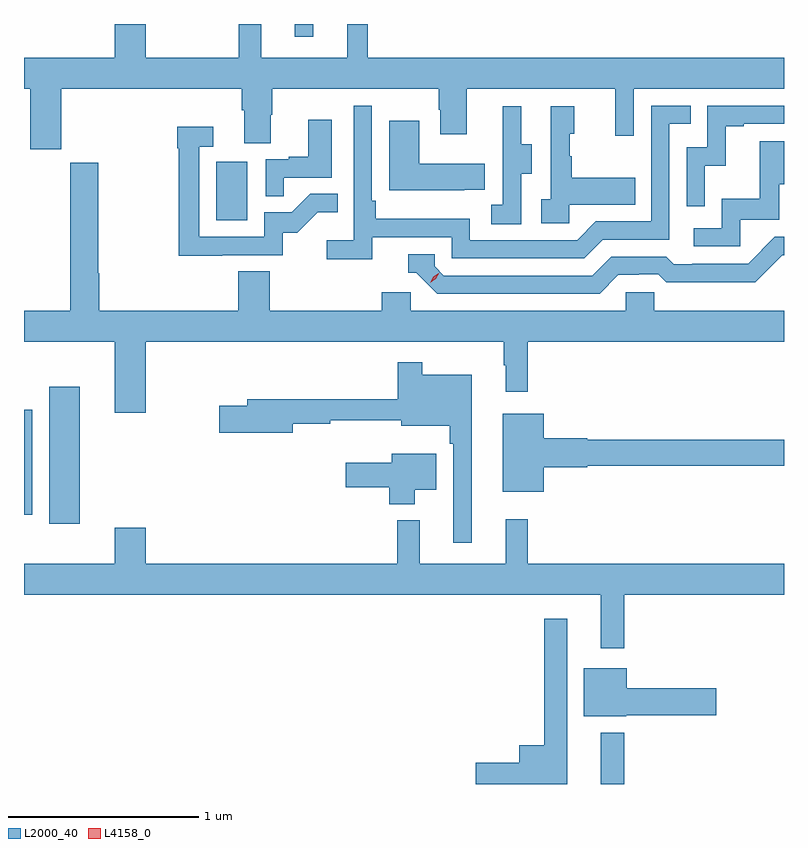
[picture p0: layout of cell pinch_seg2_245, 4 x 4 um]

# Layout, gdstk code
import gdstk
lib = gdstk.Library(unit=1e-6, precision=1e-09)
def R(c, l, rs):  # rectangles x0, y0, x1, y1
    for r in rs: c.add(gdstk.rectangle(r[:2], r[2:], *l))
def P(c, l, *ps):  # polygons
    for p in ps: c.add(gdstk.Polygon(p, *l))
L2000_40 = (2000, 40)
L4158_0 = (4158, 0)

pinch_seg2_245 = lib.new_cell('pinch_seg2_245')
R(pinch_seg2_245, L2000_40, [(946.787,653.301,946.909,653.572), (943.883,654.672,944.044,655.393), (943.751,654.718,943.794,655.27), (944.762,656.268,944.926,656.575), (945.176,657.234,945.273,657.301)])
P(pinch_seg2_245, L2000_40, [(943.948,656.96),(944.897,656.96),(944.897,656.848),(944.909,656.848),(944.909,656.674),(945.049,656.674),(945.049,656.823),(945.057,656.823),(945.057,656.96),(945.934,656.96),(945.934,656.849),(945.941,656.849),(945.941,656.721),(946.081,656.721),(946.081,656.96),(946.862,656.96),(946.862,656.712),(946.959,656.712),(946.959,656.96),(947.751,656.96),(947.751,657.124),(945.56,657.124),(945.56,657.301),(945.452,657.301),(945.452,657.124),(944.999,657.124),(944.999,657.301),(944.881,657.301),(944.881,657.124),(944.392,657.124),(944.392,657.301),(944.228,657.301),(944.228,657.124),(943.751,657.124),(943.751,656.96),(943.784,656.96),(943.784,656.643),(943.948,656.643)],
  [(945.584,656.178),(946.002,656.178),(946.002,656.067),(946.699,656.067),(946.798,656.166),(947.148,656.166),(947.148,656.775),(947.261,656.775),(947.261,656.871),(947.052,656.871),(947.052,656.262),(946.761,656.262),(946.662,656.163),(946.098,656.163),(946.098,656.275),(945.602,656.275),(945.602,656.371),(945.582,656.371),(945.582,656.872),(945.486,656.872),(945.486,656.164),(945.345,656.164),(945.345,656.062),(945.584,656.062)],
  [(947.334,656.555),(947.444,656.555),(947.444,656.763),(947.539,656.763),(947.539,656.775),(947.751,656.775),(947.751,656.871),(947.346,656.871),(947.346,656.652),(947.238,656.652),(947.238,656.343),(947.334,656.343)],
  [(946.62,656.351),(946.967,656.351),(946.967,656.491),(946.633,656.491),(946.633,656.606),(946.623,656.606),(946.623,656.724),(946.648,656.724),(946.648,656.869),(946.524,656.869),(946.524,656.378),(946.473,656.378),(946.473,656.253),(946.62,656.253)],
  [(946.368,656.512),(946.423,656.512),(946.423,656.667),(946.369,656.667),(946.369,656.869),(946.271,656.869),(946.271,656.655),(946.272,656.655),(946.272,656.351),(946.209,656.351),(946.209,656.248),(946.368,656.248)],
  [(945.119,656.493),(945.37,656.493),(945.37,656.797),(945.248,656.797),(945.248,656.602),(945.145,656.602),(945.145,656.589),(945.024,656.589),(945.024,656.395),(945.119,656.395)],
  [(946.067,656.429),(946.175,656.429),(946.175,656.566),(945.832,656.566),(945.832,656.791),(945.674,656.791),(945.674,656.426),(946.067,656.426)],
  [(944.795,656.085),(945.114,656.085),(945.114,656.202),(945.19,656.202),(945.297,656.309),(945.401,656.309),(945.401,656.408),(945.258,656.408),(945.16,656.31),(945.015,656.31),(945.015,656.181),(944.673,656.181),(944.673,656.655),(944.746,656.655),(944.746,656.761),(944.557,656.761),(944.557,656.648),(944.565,656.648),(944.565,656.08),(944.795,656.08)],
  [(947.52,656.271),(947.725,656.271),(947.725,656.457),(947.751,656.457),(947.751,656.683),(947.623,656.683),(947.623,656.38),(947.424,656.38),(947.424,656.226),(947.277,656.226),(947.277,656.13),(947.52,656.13)],
  [(945.786,655.89),(945.635,655.89),(945.635,655.792),(945.044,655.792),(945.044,656),(944.879,656),(944.879,655.792),(944.147,655.792),(944.147,655.988),(944.142,655.988),(944.142,656.571),(943.994,656.571),(943.994,655.792),(943.751,655.792),(943.751,655.628),(944.228,655.628),(944.228,655.254),(944.392,655.254),(944.392,655.628),(946.275,655.628),(946.275,655.505),(946.286,655.505),(946.286,655.365),(946.403,655.365),(946.403,655.628),(947.751,655.628),(947.751,655.792),(947.067,655.792),(947.067,655.89),(946.917,655.89),(946.917,655.792),(945.786,655.792)],
  [(946.879,655.98),(946.986,655.98),(946.986,655.983),(947.089,655.983),(947.131,655.941),(947.364,655.941),(947.364,655.943),(947.6,655.943),(947.742,656.085),(947.751,656.085),(947.751,656.181),(947.703,656.181),(947.562,656.04),(947.269,656.04),(947.269,656.037),(947.17,656.037),(947.131,656.076),(946.842,656.076),(946.743,655.977),(945.96,655.977),(945.912,656.025),(945.912,656.088),(945.773,656.088),(945.773,655.992),(945.816,655.992),(945.927,655.881),(946.78,655.881)],
  [(946.108,655.456),(945.847,655.456),(945.847,655.522),(945.718,655.522),(945.718,655.327),(944.927,655.327),(944.927,655.293),(944.778,655.293),(944.778,655.151),(945.166,655.151),(945.166,655.198),(945.362,655.198),(945.362,655.216),(945.737,655.216),(945.737,655.187),(945.991,655.187),(945.991,655.091),(946.011,655.091),(946.011,654.57),(946.108,654.57)],
  [(946.486,654.968),(946.716,654.968),(946.716,654.976),(947.751,654.976),(947.751,655.112),(946.716,655.112),(946.716,655.12),(946.486,655.12),(946.486,655.249),(946.271,655.249),(946.271,654.839),(946.486,654.839)],
  [(945.808,654.851),(945.922,654.851),(945.922,655.039),(945.686,655.039),(945.686,654.991),(945.444,654.991),(945.444,654.862),(945.674,654.862),(945.674,654.773),(945.808,654.773)],
  [(946.909,654.296),(947.751,654.296),(947.751,654.46),(946.403,654.46),(946.403,654.694),(946.286,654.694),(946.286,654.46),(945.833,654.46),(945.833,654.688),(945.715,654.688),(945.715,654.46),(944.392,654.46),(944.392,654.649),(944.228,654.649),(944.228,654.46),(943.751,654.46),(943.751,654.296),(946.787,654.296),(946.787,654.015),(946.909,654.015)],
  [(946.609,654.172),(946.488,654.172),(946.488,653.506),(946.358,653.506),(946.358,653.414),(946.128,653.414),(946.128,653.301),(946.609,653.301)],
  [(946.92,653.663),(947.395,653.663),(947.395,653.805),(946.924,653.805),(946.924,653.911),(946.697,653.911),(946.697,653.657),(946.92,653.657)])
P(pinch_seg2_245, L4158_0, [(945.888,655.939),(945.888,655.94),(945.905,655.972),(945.936,655.991),(945.936,655.991),(945.936,655.991),(945.919,655.959),(945.888,655.939)])

lib.write_gds('pinch_seg2_245.gds')
